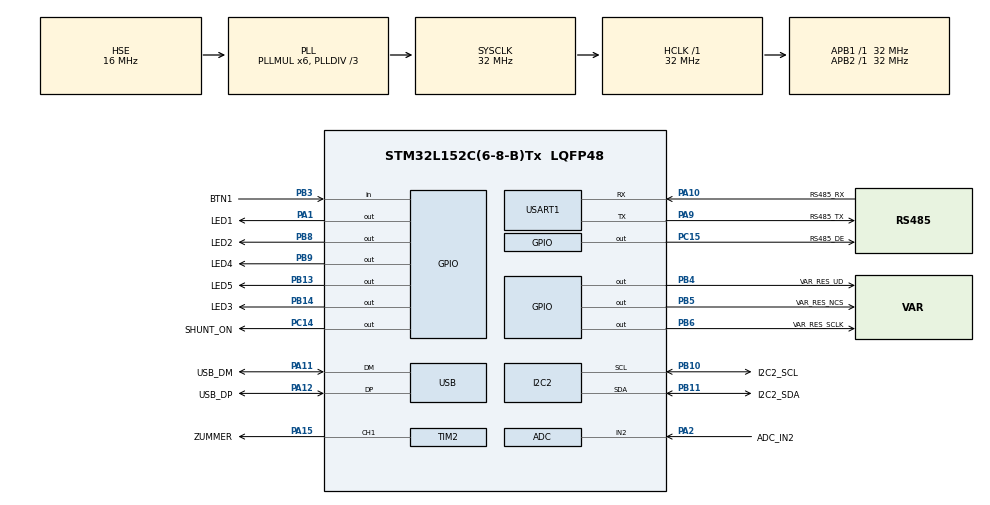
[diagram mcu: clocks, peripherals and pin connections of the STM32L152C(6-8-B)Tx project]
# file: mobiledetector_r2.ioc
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ADC.Channel-0\#ChannelRegularConversion=ADC_CHANNEL_2
ADC.ClockPrescaler=ADC_CLOCK_ASYNC_DIV1
ADC.ContinuousConvMode=DISABLE
ADC.DMAContinuousRequests=DISABLE
ADC.DataAlign=ADC_DATAALIGN_RIGHT
ADC.DiscontinuousConvMode=DISABLE
ADC.EOCSelection=ADC_EOC_SEQ_CONV
ADC.EnableAnalogWatchDog=false
ADC.ExternalTrigConv=ADC_SOFTWARE_START
ADC.ExternalTrigConvEdge=ADC_EXTERNALTRIGCONVEDGE_NONE
ADC.InjNumberOfConversion=0
ADC.LowPowerAutoPowerOff=ADC_AUTOPOWEROFF_DISABLE
ADC.LowPowerAutoWait=ADC_AUTOWAIT_DISABLE
ADC.NbrOfConversion=1
ADC.NbrOfConversionFlag=1
ADC.Rank-0\#ChannelRegularConversion=1
ADC.Resolution=ADC_RESOLUTION_12B
ADC.SamplingTime-0\#ChannelRegularConversion=ADC_SAMPLETIME_4CYCLES
ADC.ScanConvMode=ADC_SCAN_DISABLE
Mcu.Family=STM32L1
Mcu.Name=STM32L152C(6-8-B)Tx
Mcu.Package=LQFP48
NVIC.I2C2_ER_IRQn=true\:0\:0\:false\:false\:true
NVIC.PriorityGroup=NVIC_PRIORITYGROUP_4
NVIC.TIM3_IRQn=true\:0\:0\:false\:false\:true
NVIC.TIM4_IRQn=true\:0\:0\:false\:false\:true
NVIC.USART1_IRQn=true\:0\:0\:false\:false\:true
PA1.GPIO_Label=LED1
PA1.Signal=GPIO_Output
PA10.GPIO_Label=RS485_RX
PA10.Mode=Asynchronous
PA10.Signal=USART1_RX
PA11.GPIO_Label=USB_DM
PA11.Mode=Device
PA11.Signal=USB_DM
PA12.GPIO_Label=USB_DP
PA12.Mode=Device
PA12.Signal=USB_DP
PA13.Mode=Serial_Wire
PA13.Signal=SYS_JTMS-SWDIO
PA14.Mode=Serial_Wire
PA14.Signal=SYS_JTCK-SWCLK
PA15.GPIO_Label=ZUMMER
PA15.Signal=S_TIM2_CH1_ETR
PA2.GPIO_Label=ADC_IN2
PA2.Mode=IN2
PA2.Signal=ADC_IN2
PA9.GPIO_Label=RS485_TX
PA9.Mode=Asynchronous
PA9.Signal=USART1_TX
PB10.GPIO_Label=I2C2_SCL
PB10.Mode=I2C
PB10.Signal=I2C2_SCL
PB11.GPIO_Label=I2C2_SDA
PB11.Mode=I2C
PB11.Signal=I2C2_SDA
PB13.GPIO_Label=LED5
PB13.Signal=GPIO_Output
PB14.GPIO_Label=LED3
PB14.Signal=GPIO_Output
PB3.GPIO_Label=BTN1
PB3.Signal=GPIO_Input
PB4.GPIO_Label=VAR_RES_UD
PB4.Signal=GPIO_Output
PB5.GPIO_Label=VAR_RES_NCS
PB5.Signal=GPIO_Output
PB6.GPIO_Label=VAR_RES_SCLK
PB6.Signal=GPIO_Output
PB8.GPIO_Label=LED2
PB8.Signal=GPIO_Output
PB9.GPIO_Label=LED4
PB9.Signal=GPIO_Output
PC14-OSC32_IN.GPIO_Label=SHUNT_ON
PC14-OSC32_IN.Signal=GPIO_Output
PC15-OSC32_OUT.GPIO_Label=RS485_DE
PC15-OSC32_OUT.Signal=GPIO_Output
PH0-OSC_IN.Mode=HSE-External-Oscillator
PH0-OSC_IN.Signal=RCC_OSC_IN
PH1-OSC_OUT.Mode=HSE-External-Oscillator
PH1-OSC_OUT.Signal=RCC_OSC_OUT
ProjectManager.HeapSize=0x200
ProjectManager.StackSize=0x400
ProjectManager.TargetToolchain=MDK-ARM V4
RCC.AHBFreq_Value=32000000
RCC.APB1Freq_Value=32000000
RCC.APB1TimFreq_Value=32000000
RCC.APB2Freq_Value=32000000
RCC.APB2TimFreq_Value=32000000
RCC.HCLKFreq_Value=32000000
RCC.HSE_VALUE=16000000
RCC.HSI_VALUE=16000000
RCC.LSE_VALUE=32768
RCC.MSI_VALUE=2097000
RCC.PLLDIV=RCC_PLL_DIV3
RCC.PLLMUL=RCC_PLL_MUL6
RCC.SYSCLKFreq_VALUE=32000000
RCC.SYSCLKSource=RCC_SYSCLKSOURCE_PLLCLK
RCC.USBOutput=48000000
RCC.VCOOutputFreq_Value=96000000
SH.S_TIM2_CH1_ETR.0=TIM2_CH1,PWM Generation1 CH1
VP_IWDG_VS_IWDG.Mode=IWDG_Activate
VP_TIM3_VS_ClockSourceINT.Mode=Internal
VP_TIM4_VS_ClockSourceINT.Mode=Internal
board=mobiledetector_r2

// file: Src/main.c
/**
  ******************************************************************************
  * File Name          : main.c
  * Description        : Main program body
  ******************************************************************************
  *
  * COPYRIGHT(c) 2017 STMicroelectronics
  *
  * Redistribution and use in source and binary forms, with or without modification,
  * are permitted provided that the following conditions are met:
  *   1. Redistributions of source code must retain the above copyright notice,
  *      this list of conditions and the following disclaimer.
  *   2. Redistributions in binary form must reproduce the above copyright notice,
  *      this list of conditions and the following disclaimer in the documentation
  *      and/or other materials provided with the distribution.
  *   3. Neither the name of STMicroelectronics nor the names of its contributors
  *      may be used to endorse or promote products derived from this software
  *      without specific prior written permission.
  *
  * THIS SOFTWARE IS PROVIDED BY THE COPYRIGHT HOLDERS AND CONTRIBUTORS "AS IS"
  * AND ANY EXPRESS OR IMPLIED WARRANTIES, INCLUDING, BUT NOT LIMITED TO, THE
  * IMPLIED WARRANTIES OF MERCHANTABILITY AND FITNESS FOR A PARTICULAR PURPOSE ARE
  * DISCLAIMED. IN NO EVENT SHALL THE COPYRIGHT HOLDER OR CONTRIBUTORS BE LIABLE
  * FOR ANY DIRECT, INDIRECT, INCIDENTAL, SPECIAL, EXEMPLARY, OR CONSEQUENTIAL
  * DAMAGES (INCLUDING, BUT NOT LIMITED TO, PROCUREMENT OF SUBSTITUTE GOODS OR
  * SERVICES; LOSS OF USE, DATA, OR PROFITS; OR BUSINESS INTERRUPTION) HOWEVER
  * CAUSED AND ON ANY THEORY OF LIABILITY, WHETHER IN CONTRACT, STRICT LIABILITY,
  * OR TORT (INCLUDING NEGLIGENCE OR OTHERWISE) ARISING IN ANY WAY OUT OF THE USE
  * OF THIS SOFTWARE, EVEN IF ADVISED OF THE POSSIBILITY OF SUCH DAMAGE.
  *
  ******************************************************************************
  */
#include "main.h"
#include "stm32l1xx_hal.h"
#include "adc.h"
#include "i2c.h"
#include "iwdg.h"
#include "tim.h"
#include "usart.h"
#include "usb.h"
#include "gpio.h"

/* USER CODE BEGIN Includes */
#include <mb_slave.h>
#include <modbus_config.h>
#include <math.h>
/* USER CODE END Includes */

/* USER CODE BEGIN PV */
/* Private variables ---------------------------------------------------------*/

mb_Regs Params;
unsigned * BUF1 = (unsigned *) &(Params.var_res_level);
unsigned * BUF2 = (unsigned *) FLASH_LOCATION;
mb_Regs * Flash_Params = (mb_Regs *) FLASH_LOCATION;
unsigned short * PARAMS_BUF = (unsigned short *) & (Params.var_res_level);
volatile uint32_t NbrOfPage = 0x00;
uint32_t EraseCounter = 0x00, Address = 0x00;
HAL_StatusTypeDef flash_status;

uint8_t init = 1;
bool adc_new = false;
bool i2c_new = false;
bool adc_flag = false;
float i2c_data = 0;
bool i2c_msg_flag = false;
bool flag_T = true;
bool i2c_is_busy = false;
uint8_t tick = 0;
uint8_t var_res_level_old = 0;

uint16_t tickcounter = 0;

bool isPassword = false;
uint16_t Password = 0x0101;
MbErrorCodes_t usart_init_msg;

/* USER CODE END PV */

void SystemClock_Config(void);
void Error_Handler(void);

/* USER CODE BEGIN PFP */
/* Private function prototypes -----------------------------------------------*/
void Flash_Store( void );
bool Flash_Restore( void );
void usart_int_enable( void );
void adc_getval( mb_Regs *Params, bool flag );
//void i2c_getval( mb_Regs *Params, uint8_t flag );
void get_sens_data(void);
void ResetFilter_data( mb_Regs *Params);
void Set_var_res( mb_Regs *Params );
void Set_var_res_null( mb_Regs *Prm );

/* USER CODE END PFP */

int main(void)
{

  /* MCU Configuration----------------------------------------------------------*/

  /* Reset of all peripherals, Initializes the Flash interface and the Systick. */
  HAL_Init();

  /* Configure the system clock */
  SystemClock_Config();

  /* Initialize all configured peripherals */
  MX_GPIO_Init();
  MX_ADC_Init();
  MX_USART1_UART_Init();
  MX_USB_PCD_Init();
  MX_I2C2_Init();
  MX_IWDG_Init();
  MX_TIM2_Init();
  MX_TIM3_Init();
  MX_TIM4_Init();

  /* USER CODE BEGIN 2 */

	Set_var_res_null( &Params );

	bool read_flash = Flash_Restore();

	usart_init_msg = mb_slave_init( &m_mbParam );

  /* USER CODE END 2 */

  /* Infinite loop */
  /* USER CODE BEGIN WHILE */
  while (1)
  {

//		if( Params.write_reg & FLAG_WRITE )
//		{
//				Flash_Store();
//			Params.write_reg &= ~FLAG_WRITE;
//		}
		Set_var_res( &Params );
		if( tick >= 100 )
		{

			tick = 0;
			get_sens_data();

		}
		//HAL_UART_Transmit_IT( &huart1, (uint8_t *)&init, 1);

  /* USER CODE END WHILE */

  }

}

/** System Clock Configuration
*/
void SystemClock_Config(void)
{

  RCC_OscInitTypeDef RCC_OscInitStruct;
  RCC_ClkInitTypeDef RCC_ClkInitStruct;

    /**Configure the main internal regulator output voltage
    */
  __HAL_PWR_VOLTAGESCALING_CONFIG(PWR_REGULATOR_VOLTAGE_SCALE1);

    /**Initializes the CPU, AHB and APB busses clocks
    */
  RCC_OscInitStruct.OscillatorType = RCC_OSCILLATORTYPE_HSI|RCC_OSCILLATORTYPE_LSI
                              |RCC_OSCILLATORTYPE_HSE;
  RCC_OscInitStruct.HSEState = RCC_HSE_ON;
  RCC_OscInitStruct.HSIState = RCC_HSI_ON;
  RCC_OscInitStruct.HSICalibrationValue = 16;
  RCC_OscInitStruct.LSIState = RCC_LSI_ON;
  RCC_OscInitStruct.PLL.PLLState = RCC_PLL_ON;
  RCC_OscInitStruct.PLL.PLLSource = RCC_PLLSOURCE_HSE;
  RCC_OscInitStruct.PLL.PLLMUL = RCC_PLL_MUL6;
  RCC_OscInitStruct.PLL.PLLDIV = RCC_PLL_DIV3;
  if (HAL_RCC_OscConfig(&RCC_OscInitStruct) != HAL_OK)
  {
    Error_Handler();
  }

    /**Initializes the CPU, AHB and APB busses clocks
    */
  RCC_ClkInitStruct.ClockType = RCC_CLOCKTYPE_HCLK|RCC_CLOCKTYPE_SYSCLK
                              |RCC_CLOCKTYPE_PCLK1|RCC_CLOCKTYPE_PCLK2;
  RCC_ClkInitStruct.SYSCLKSource = RCC_SYSCLKSOURCE_PLLCLK;
  RCC_ClkInitStruct.AHBCLKDivider = RCC_SYSCLK_DIV1;
  RCC_ClkInitStruct.APB1CLKDivider = RCC_HCLK_DIV1;
  RCC_ClkInitStruct.APB2CLKDivider = RCC_HCLK_DIV1;

  if (HAL_RCC_ClockConfig(&RCC_ClkInitStruct, FLASH_LATENCY_1) != HAL_OK)
  {
    Error_Handler();
  }

    /**Configure the Systick interrupt time
    */
  HAL_SYSTICK_Config(HAL_RCC_GetHCLKFreq()/1000);

    /**Configure the Systick
    */
  HAL_SYSTICK_CLKSourceConfig(SYSTICK_CLKSOURCE_HCLK);

  /* SysTick_IRQn interrupt configuration */
  HAL_NVIC_SetPriority(SysTick_IRQn, 0, 0);
}

/* USER CODE BEGIN 4 */

void TIM4_IRQHandler(void)			// второе определение закомментировано в stm32f1xx_it.c
{

		__HAL_TIM_CLEAR_IT( &htim4, TIM_IT_UPDATE);
		adc_flag = true;

	if( !i2c_is_busy )
		i2c_msg_flag = true;

};

int tyy = 0;
void TIM3_IRQHandler( void )				// второе определение закомментировано в stm32f1xx_it.c
{
			__HAL_TIM_CLEAR_IT( &htim3, TIM_IT_UPDATE);
					mb_slave_timer_expired(&m_mbParam);

}

uint32_t m_hostTimeout = 0;
bool m_isPasswordValid = false;

void HAL_UART_RxCpltCallback(UART_HandleTypeDef *huart)
{
		static bool isRidgeEn = false;

		if( huart->Instance == USART1)
		{

			uint8_t err = HAL_UART_GetError( &huart1 );

			/*
			#define HAL_UART_ERROR_NONE      ((uint32_t)0x00)    /*!< No error
			#define HAL_UART_ERROR_PE        ((uint32_t)0x01)    /*!< Parity error
			#define HAL_UART_ERROR_NE        ((uint32_t)0x02)    /*!< Noise error
			#define HAL_UART_ERROR_FE        ((uint32_t)0x04)    /*!< frame error
			#define HAL_UART_ERROR_ORE       ((uint32_t)0x08)    /*!< Overrun error
			#define HAL_UART_ERROR_DMA       ((uint32_t)0x10)    /*!< DMA transfer error
			*/

			uint8_t data = (uint8_t)huart->Instance->DR;

			MbErrorCodes_t err_msg = mb_slave_recive( &m_mbParam, data );
		//	HAL_GPIO_WritePin(GPIOC, GPIO_PIN_15, GPIO_PIN_RESET);
//
//			uint8_t data11 = huart->Instance->DR;
//			HAL_GPIO_WritePin(GPIOA, GPIO_PIN_11, GPIO_PIN_SET);
//			HAL_UART_Transmit_IT(&huart1, &data11, 1);
//			while(HAL_UART_GetState( &huart1 ) == HAL_UART_STATE_BUSY)
//				{};
//			HAL_GPIO_WritePin(GPIOA, GPIO_PIN_11, GPIO_PIN_RESET);

		};

};

void HAL_UART_TxCpltCallback(UART_HandleTypeDef *huart)
{
	if( huart->Instance == USART1)
	{
	 if( huart->Instance == USART1 )
			mb_tx(&m_mbParam);
	}
};

MbExceptionCodes_t mb_read_registers( uint8_t *lpDstBuf, uint16_t startAddr, uint16_t count ) {
	if(lpDstBuf == NULL)
		return MB_EXC_ILLEGAL_FUNCTION;

	isPassword = false;
	m_hostTimeout = 0;
	m_isPasswordValid = false;
	uint16_t endAddr = startAddr + count;

	int registersCount = sizeof(Params) / 2;

	if(startAddr < registersCount) {
		// ?????? ???????????? ?????????
		if( endAddr > registersCount )
			return MB_EXC_ILLEGAL_DATA_ADDR;

		uint16_t *lpRegs = (uint16_t*)&Params;
		uint16_t reg;
		//
		for(uint32_t i = startAddr, j = 0; i < endAddr; i++, j += 2) {
			reg = lpRegs[i];
			lpDstBuf[j] = (uint8_t)(reg >> 8);
			lpDstBuf[j + 1] = (uint8_t)(reg);
		}
		//
		return MB_EXC_NONE;
	}

	//-------------------------------------------------------------------------
	uint16_t size = strlen( MODBUS_DEVICE_INFO );

	// ?????? ?????????? ???????? ? ?????????? ?? ??????????
	if(startAddr == InfoSizeRegNum) {

		if(count != 1) {
			return MB_EXC_ILLEGAL_DATA_VALUE;
		}
		//
		lpDstBuf[0] = (uint8_t)size >> 8;
		lpDstBuf[1] = (uint8_t)(size);
		//
		return MB_EXC_NONE;
	}

	// -----------------------------------------------------------------------
	// ?????? ?????????? ?? ??????????
	if(startAddr == InfoRegNum) {

		if(count != size) {
			return MB_EXC_ILLEGAL_DATA_VALUE;
		}

		char *ptr = MODBUS_DEVICE_INFO; // tBuf;
		uint16_t reg;

		for(uint32_t i = 0, j = 0; i < size; i++, j += 2) {
			reg = (uint16_t)ptr[i];
			lpDstBuf[j] = (uint8_t)(reg >> 8);
			lpDstBuf[j + 1] = (uint8_t)(reg);
		}
		//
		return MB_EXC_NONE;
	}

	return MB_EXC_ILLEGAL_FUNCTION;
};

MbExceptionCodes_t mb_write_registers( uint16_t startAddr, uint16_t count, uint8_t *lpSrcBuf ) {

//	if( !isPassword )
//	{
//
//		if(((lpSrcBuf[0]<<8) + lpSrcBuf[1]) == Password	)
//			isPassword = true;
//
//		return NULL;
//	}

	if(lpSrcBuf == NULL)
		return MB_EXC_ILLEGAL_FUNCTION;

	m_hostTimeout = 0;
	m_isPasswordValid = false;
	uint16_t endAddr = startAddr + count;
	uint16_t *tmp_ptr = (uint16_t *)&Params;

	uint16_t tmp_reg_val;

	//int i = startAddr;
	int j = startAddr;

	for( int i = startAddr; i < endAddr; i++)
	{
		tmp_reg_val = (lpSrcBuf[j - startAddr ] << 8) + lpSrcBuf[j - startAddr+1];

		//tmp_ptr[i+2] = lpSrcBuf[i - startAddr];
		tmp_ptr[i] = tmp_reg_val;
		j+=2;
//		tmp_ptr [1] = 0x77;
//		tmp_ptr [0] = 0x9988;
//
	}

		//
		return MB_EXC_NONE;

	//return MB_EXC_ILLEGAL_FUNCTION;

};

void  Flash_Store( void )
{

		EnterCritSection();

		uint8_t j=0;
		for ( int i=0;i<FLASH_SIZE;i++)
		{
			if (BUF1[i]!=BUF2[i])
				j=1;
		}

		if(!j) {
			ExitCritSection();
			return;
		}

		HAL_FLASH_Unlock();

		NbrOfPage = (EndAddr - FLASH_LOCATION) / FLASH_PAGE_SIZE;
//		HAL_FLASH_Unlock();
		//стереть
		for(EraseCounter = 0; (EraseCounter < NbrOfPage); EraseCounter++)
		{
			FLASH_PageErase(FLASH_LOCATION + (FLASH_PAGE_SIZE * EraseCounter));
			while(FLASH->SR & FLASH_SR_BSY )
			{}
			//FLASH_WaitForLastOperation(10);
		}
		HAL_FLASH_Lock();

		Address = FLASH_LOCATION;
		int i=FLASH_SIZE;

		Params.crc = CalcCrc16((unsigned char *) & (Params.var_res_level), FLASH_SIZE*4-4);

		HAL_FLASH_Unlock();

		for (i=0;i<FLASH_SIZE;i++) {
			if (BUF1[i]!=BUF2[i])
			{
				//FLASH->CR &= ~(FLASH_CR_PER);
				//FLASH->CR |= FLASH_CR_PG;
				flash_status = HAL_FLASH_Program( FLASH_TYPEPROGRAM_WORD, FLASH_LOCATION+(i<<2), BUF1[i]);
				while(FLASH->SR & FLASH_SR_BSY )
				{}
			}
		}
		//flash_status = HAL_FLASH_Program( FLASH_TYPEPROGRAM_WORD, 0x08007C96, 0x09);

		HAL_FLASH_Lock();

		ExitCritSection();

};

	uint16_t sdf;
uint32_t sdfgdf;

bool Flash_Restore( void )
{
	uint16_t crc;
	uint16_t f_size = (((unsigned short *)&Params.crc - (unsigned short *)&Params.var_res_level)/2+1);
	sdf = ((unsigned short *)&Params.crc - (unsigned short *)&Params.var_res_level);
	sdf = (((unsigned short *)&Params.crc - (unsigned short *)&Params.var_res_level)/2+1);
	sdf = (((unsigned short *)&Params.crc - (unsigned short *)&Params.var_res_level)/2+1) * 4;
	sdf = (((unsigned short *)&Params.crc - (unsigned short *)&Params.var_res_level)/2+1) * 4 - 4;
	sdfgdf = ((unsigned short *)&Params.crc - (unsigned short *) & Params.var_res_level);
	sdfgdf = FLASH_LOCATION + ((unsigned short *)&Params.crc - (unsigned short *) & Params.var_res_level);

//	sdfgdf = *((uint16_t *)(FLASH_LOCATION + sdfgdf*2));
//	sdfgdf = FLASH_LOCATION;
//	sdfgdf = FLASH_PAGE_SIZE;
//	sdfgdf = ((uint32_t)0x08008000-FLASH_PAGE_SIZE);

//	sdf = FLASH_SIZE;
//	sdf = (FLASH_SIZE)*4;
//	sdf = FLASH_SIZE*4-4;

	crc = CalcCrc16((unsigned char *) Flash_Params, sdf);
	if (crc != *((uint16_t *)(sdfgdf)))		//(FLASH_LOCATION + sdfgdf*2)

	{
		for (int i = 0; i < f_size ; i++)
			PARAMS_BUF[i] = 0;
		return false;

	}
	else
	{
		for (int i = 0; i < FLASH_SIZE  ; i++)
			BUF1[i] = BUF2[i];
		return true;

	}
};

void get_sens_data(void)
{

	//	adc_getval( &Params, adc_flag );
	//	adc_new = true;
	//	Filter_data( &Params );

		uint16_t tmp = HAL_ADC_GetValue(&hadc);
		Params.Sensor_voltage = ((tmp * V_ref) / 4096.0f)*1000;
		HAL_ADC_Start( &hadc );

		if(i2c_msg_flag)
		{
			if(flag_T)
			{
				i2c_data = I2C_StartTransmission( T );
				i2c_is_busy = true;
				//if( i2c_data != Write_Error && i2c_data !=Writed_T && i2c_data !=Read_Error && i2c_data !=Crc8_Error && i2c_data != Conversion_Error )
				if( i2c_data != Write_Error && i2c_data !=Writed_T && i2c_data !=Read_Error && i2c_data !=Crc8_Error && i2c_data != Conversion_Error )
				{
					Params.Temperature = i2c_data;
					flag_T = false;
					i2c_is_busy = false;

				}

				if(i2c_data == Writed_T)
					i2c_is_busy = false;

				if( i2c_data == Write_Error || i2c_data ==Read_Error || i2c_data ==Crc8_Error || i2c_data == Conversion_Error)
				{
					flag_T = false;
					i2c_is_busy = false;
				}
			}
			else
			{

				i2c_data = I2C_StartTransmission( RH );
				i2c_is_busy = true;
				//if( i2c_data != Write_Error && i2c_data !=Writed_T && i2c_data !=Read_Error && i2c_data !=Crc8_Error && i2c_data != Conversion_Error )
				if( i2c_data != Write_Error && i2c_data !=Writed_T && i2c_data !=Read_Error && i2c_data !=Crc8_Error && i2c_data != Conversion_Error )
				{
					Params.Humidity = i2c_data;
					flag_T = true;
					i2c_is_busy = false;
				}
				if( i2c_data == Write_Error || i2c_data ==Read_Error || i2c_data ==Crc8_Error || i2c_data == Conversion_Error)
				{
					flag_T = true;
					i2c_is_busy = false;
				}
				if( i2c_data == Writed_T )
					i2c_is_busy = false;

			}
			i2c_msg_flag = false;
			i2c_new = true;
			if( init == 1 )
			{
				ResetFilter_data( &Params );
				init = 0;
			}
			else
				return;
//				Filter_data( &Params );
		}

};

void ResetFilter_data( mb_Regs *Params)
{

	i2c_new = false;
	adc_new = false;

};

void usart_int_enable( void )
{

						// ???????????????????????????????????????????????
			/* Enable the UART Parity Error Interrupt */
			__HAL_UART_ENABLE_IT(&huart1, UART_IT_PE);

			/* Enable the UART Error Interrupt: (Frame error, noise error, overrun error) */
			__HAL_UART_ENABLE_IT(&huart1, UART_IT_ERR);

			/* Enable the UART Data Register not empty Interrupt */
			__HAL_UART_ENABLE_IT(&huart1, UART_IT_RXNE);

		//	__HAL_UART_ENABLE_IT(&huart1, UART_IT_TXE);

};

void Set_var_res( mb_Regs *Params )
{

	if( Params->var_res_level != var_res_level_old)
	{

		uint8_t step_count = (abs(Params->var_res_level - var_res_level_old)) * 2;

		if( Params->var_res_level > var_res_level_old )
			VAR_RES_UD( UP );
		else if( Params->var_res_level < var_res_level_old )
			VAR_RES_UD( DOWN );

		VAR_RES_NCS( DOWN );
		VAR_RES_SCLK( UP );

		for( int i = step_count; i >= 0; i--)
		{
				HAL_Delay( 1 );
				HAL_GPIO_TogglePin(VAR_RES_SCLK_GPIO_Port, VAR_RES_SCLK_Pin );

		}

		VAR_RES_NCS( UP );

		var_res_level_old = Params->var_res_level;
	}
	else
		return;

//		if( Params->var_res_level > var_res_level_old)
//		{
//
//			VAR_RES_UD( UP );
//			uint8_t step_count = (Params->var_res_level - var_res_level_old) * 2;
//
//			for( int i = step_count; i >= 0; i--)
//			{
//
//				HAL_GPIO_TogglePin(VAR_RES_SCLK_GPIO_Port, VAR_RES_SCLK_Pin );
//				HAL_Delay( 1 );
//
//			}
//
//		}
//		else if( Params->var_res_level < var_res_level_old)
//		{
//
//			VAR_RES_UD( DOWN );
//			uint8_t step_count = (var_res_level_old - Params->var_res_level) * 2;
//
//			for( int i = step_count; i >= 0; i--)
//			{
//
//				HAL_GPIO_TogglePin(VAR_RES_SCLK_GPIO_Port, VAR_RES_SCLK_Pin );
//				HAL_Delay( 1 );
//
//			}
//
//		}

};

void Set_var_res_null( mb_Regs *Prm )
{
			Prm->var_res_level = 64;
			Set_var_res(Prm);

			Prm->var_res_level = 0;
			Set_var_res(Prm);

};

void HAL_SYSTICK_Callback(void)
{
  /* NOTE : This function Should not be modified, when the callback is needed,
            the HAL_SYSTICK_Callback could be implemented in the user file
   */

	tick >= 250 ? tick = 0: tick++;

}

/* USER CODE END 4 */

void Error_Handler(void)
{
  while(1)
  {
  }
}

/************************ (C) COPYRIGHT STMicroelectronics *****END OF FILE****/
